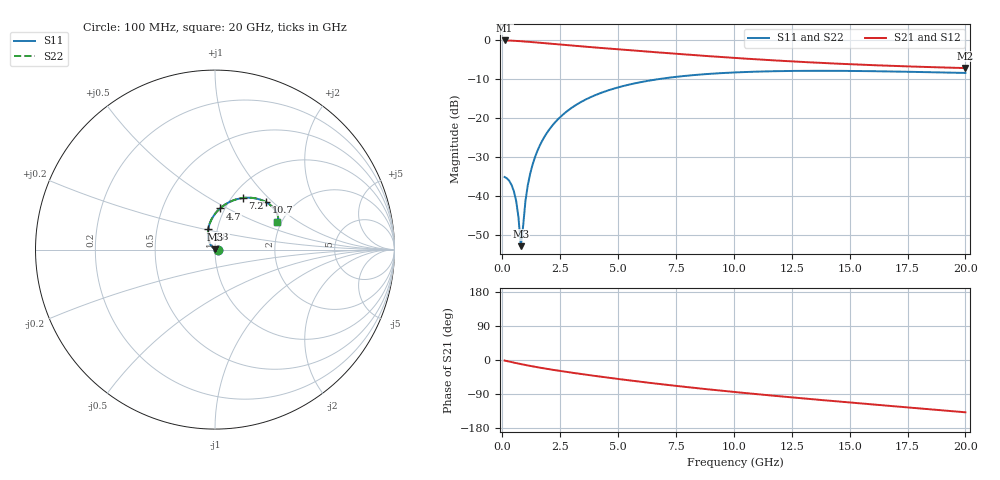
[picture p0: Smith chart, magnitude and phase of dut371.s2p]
! Touchstone file exported from HFSS 2024.1.0
!  File:  C:/UserFiles/LocalFiles/RDL_TSV_Batchsim/temp_RDL_TSV_371_1779642788.aedt
!  Generated:  01:27:41 AM May 25, 2026
!  Design:  RDL_TSV
!  Project:  temp_RDL_TSV_371_1779642788
!  Setup:  Setup1
!  Solution:  Sweep
! Variables:
!  dtsv = 14.04um
!  hbump = 3um
!  htsv = 55.3um
!  ldown = 219.76um
!  lrdl = 289.88um
!  p = 40
!  p1 = 57.82um
!  rhole = 10um
!  subl = 1818.8um
!  t = 450um
!  tdown = 2.68um
!  trdl = 2.08um
!  viad = 10um
!  wdown = 28.71um
!  wrdl = 13.71um
!  xbump = 18um
# GHz S MA R 50.000000
! Terminal data exported
! Port[1] = TM1_1_T1
! Port[2] = TM1_4_T1
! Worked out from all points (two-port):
!   200 points, 100 MHz to 20 GHz, reference 50 ohm
!   highest |S21| = -0.16 dB at 100 MHz (marker M1); lowest = -7.2 dB at 20 GHz (marker M2)
!   |S21| within 3 dB of the highest: start of sweep to 6.586 GHz
!   lowest |S11| = -52.9 dB at 800 MHz (marker M3), VSWR 1.00, Z = 50.2 + j0.149 ohm
!   |S11| at or under -10 dB: start of sweep to 6.838 GHz
!   |S22| runs from -52.9 to -7.9 dB; largest |S21 - S12| = 9.1e-15
!   S11 on the Smith chart (normalised r, x): 100 MHz: 1.04, -0.00; 2.8 GHz: 0.90, +0.21; 4.7 GHz: 0.95, +0.46; 7.2 GHz: 1.12, +0.72; 10.7 GHz: 1.47, +0.91; 20 GHz: 1.89, +0.68
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0.1  0.01741 -1.4  0.9819 -1.4  0.9819 -1.4  0.01741 -1.4
! Gamma 0 0 0 0
! Port Impedance 50 0 50 0
0.4  0.01378 -6.1  0.9759 -5.5  0.9759 -5.5  0.01378 -6.1
0.6  0.008557 -6.2  0.9691 -8.2  0.9691 -8.2  0.008555 -6.2
0.7  0.005257 0.1  0.965 -9.5  0.965 -9.5  0.005255 0.1
0.8  0.002257 41.3  0.9606 -10.7  0.9606 -10.7  0.002254 41.3
0.9  0.004093 120.5  0.9558 -12.0  0.9558 -12.0  0.004092 120.5
1  0.008564 134.2  0.9508 -13.2  0.9508 -13.2  0.008564 134.2
1.1  0.0136 136.7  0.9456 -14.4  0.9456 -14.4  0.0136 136.7
1.2  0.01898 136.5  0.9403 -15.6  0.9403 -15.6  0.01898 136.5
1.4  0.03054 133.7  0.9292 -17.8  0.9292 -17.8  0.03054 133.8
1.7  0.04924 128.0  0.9123 -21.0  0.9123 -21.0  0.04924 128.0
2  0.06886 122.1  0.8955 -24.1  0.8955 -24.1  0.06887 122.1
2.8  0.1218 107.8  0.8537 -31.6  0.8537 -31.6  0.1218 107.9
3.5  0.1655 97.4  0.8205 -37.8  0.8205 -37.8  0.1656 97.5
4.7  0.2311 83.0  0.7686 -47.7  0.7686 -47.7  0.2312 83.0
6.8  0.3151 64.4  0.6874 -63.4  0.6874 -63.4  0.3152 64.5
7.2  0.3269 61.6  0.6732 -66.2  0.6732 -66.2  0.3271 61.6
10.1  0.3825 45.2  0.5844 -84.9  0.5844 -84.9  0.3828 45.3
10.7  0.3886 42.6  0.5691 -88.4  0.5691 -88.4  0.3889 42.7
13.4  0.4007 33.4  0.5125 -103.5  0.5125 -103.5  0.401 33.4
16.7  0.3933 26.6  0.4651 -120.9  0.4651 -120.9  0.3937 26.6
20  0.3761 24.1  0.4343 -138.0  0.4343 -138.0  0.3765 24.1
